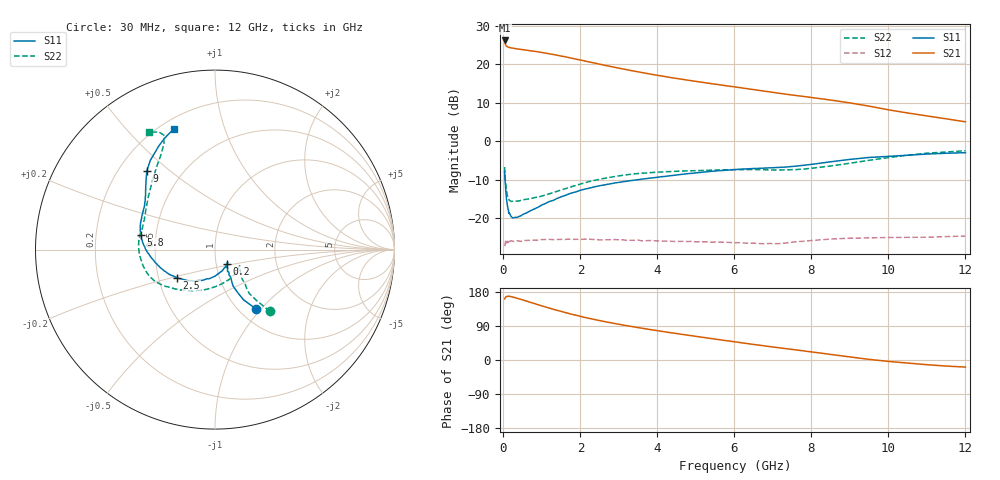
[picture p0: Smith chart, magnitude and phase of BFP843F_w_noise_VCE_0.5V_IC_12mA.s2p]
! Infineon Technologies  Discrete & RF Semiconductors
! BFP843F
! VCE =  0.5 V,  IC =  12 mA
! Common Emitter S-Parameters:  Aug 2013
# GHz  S  MA  R  50
!  f  S11  S21  S12  S22
! GHz  MAG  ANG  MAG  ANG  MAG  ANG  MAG  ANG
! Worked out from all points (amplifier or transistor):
!   103 points, 30 MHz to 12 GHz, reference 50 ohm
!   highest |S21| = 26.2 dB at 30 MHz (marker M1)
!   |S21| within 3 dB of that: start of sweep to 920.7 MHz
!   unconditionally stable (mu >= 1): 138.3 MHz to 142.2 MHz; 213.5 MHz to 610.7 MHz; 2.951 GHz to end of sweep
!   at 400 MHz: K = 1.01, MAG = 24.5 dB, |S12| = -26.0 dB
!   at 3.7 GHz: K = 1.08, MAG = 20.1 dB, |S12| = -25.9 dB
!   at 12 GHz: K = 1.39, MAG = 11.1 dB, |S12| = -24.7 dB
!   lowest NFmin = 0.81 dB at 450 MHz
!   S11 on the Smith chart (normalised r, x): 30 MHz: 1.19, -0.95; 200 MHz: 1.13, -0.18; 2.5 GHz: 0.62, -0.21; 5.8 GHz: 0.41, +0.08; 9 GHz: 0.32, +0.42; 12 GHz: 0.25, +0.69
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0.03  0.4042 -55.3  20.51 161.3  0.043 30.2  0.4611 -48.3
0.04  0.3211 -60.4  19.13 162.5  0.044 21.1  0.3695 -50.7
0.05  0.2712 -62.2  18.24 165.3  0.048 9.6  0.3103 -52.0
0.08  0.1741 -60.2  17.31 167.5  0.0474 10.6  0.2273 -47.6
0.13  0.126 -55.6  16.75 168.4  0.0484 9.2  0.1796 -39.2
0.2  0.104 -49.7  16.41 167.2  0.0506 6.6  0.1643 -33.9
0.7  0.1244 -70.8  15.06 152.2  0.0513 3.2  0.1785 -57.6
1.1  0.1555 -95.7  14.03 139.7  0.0525 2.6  0.1998 -83.8
1.3  0.1701 -106.3  13.46 133.7  0.0522 1.5  0.2148 -95.5
1.6  0.1964 -118.7  12.59 125.4  0.0526 1.1  0.2408 -109.8
2.1  0.2368 -134.2  11.14 112.7  0.053 -0.5  0.2851 -128.0
2.5  0.2633 -143.6  10.07 103.9  0.0517 -1.0  0.3189 -137.6
3.2  0.3011 -155.8  8.544 90.6  0.0512 -2.0  0.3656 -149.2
4.1  0.345 -169.3  7.086 75.8  0.0501 -1.8  0.3972 -159.8
5  0.3875 179.3  6.019 62.4  0.0489 -0.9  0.4139 -170.3
5.8  0.4212 169.1  5.269 50.9  0.0483 0.0  0.4242 -179.9
6.1  0.4306 165.4  5.023 46.7  0.0478 0.6  0.4265 176.5
7.3  0.4598 148.9  4.12 30.4  0.0472 6.9  0.4237 161.3
8.5  0.5399 135.4  3.436 14.7  0.0532 9.0  0.4756 141.2
9  0.5798 131.0  3.155 8.1  0.0546 8.2  0.5168 132.5
10.5  0.6567 118.5  2.332 -8.1  0.056 7.8  0.6578 115.6
12  0.7093 108.7  1.79 -18.7  0.0583 11.3  0.7509 119.3
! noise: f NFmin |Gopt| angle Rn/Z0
0.45  0.81  0.02  23  0.02
0.9  0.82  0.03  51  0.02
1.5  0.85  0.03  71  0.03
1.9  0.9  0.04  97  0.04
2.4  0.94  0.05  115  0.05
3.5  0.99  0.08  142  0.11
5.5  1.1  0.16  -167  0.19
10  1.65  0.36  -112  0.29
